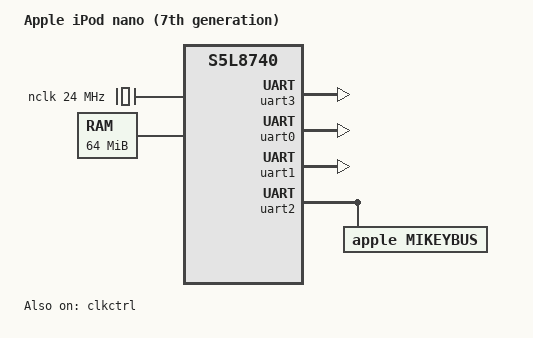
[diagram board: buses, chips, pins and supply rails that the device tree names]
// SPDX-License-Identifier: GPL-2.0+
/*
 * Apple S5L8740 SoC
 * Board name: N31
 * Product name: iPod nano (7th generation)
 */
/dts-v1/;

#include <dt-bindings/input/input.h>
#include <dt-bindings/gpio/gpio.h>
#include <dt-bindings/interrupt-controller/irq.h>
#include <dt-bindings/clock/samsung,s5l8702-clock.h>

/ {
    #address-cells = <1>;
    #size-cells = <1>;
    model = "Apple iPod nano (7th generation)";
    compatible = "apple,n31", "samsung,s5l8740";

    aliases {
        serial0 = &uart3;
        console = &uart3;
    };

    chosen {
        /* quiet: suppress non-critical boot spam; nimbus uses explicit prints */
		bootargs = "panic=-1 loglevel=8 nohlt";
        stdout-path = "serial0";
    };

    nclk: external_clock {
        compatible = "fixed-clock";
        #clock-cells = <0>;
        clock-frequency = <24000000>;
        clock-output-names = "nclk";
    };

    // pclk: clock-ref {
    //     compatible = "fixed-clock";
    //     #clock-cells = <0>;
    //     clock-frequency = <6000000>;
    //     clock-output-names = "pclk";
    // };

    cpus {
        #address-cells = <1>;
        #size-cells = <0>;

        cpu@0 {
            device_type = "cpu";
            reg = <0>;
            compatible = "arm,cortex-a5";
        };
    };

    memory@8000000 {
        device_type = "memory";
        reg = <0x08000000 0x04000000>;
    };

    soc {
        compatible = "simple-bus";
        #address-cells = <1>;
        #size-cells = <1>;
        ranges;

        vic0: interrupt-controller@38e00000 {
            compatible = "arm,pl192-vic";
            interrupt-controller;
            reg = <0x38e00000 0x1000>;
            #interrupt-cells = <1>;
        };

        vic1: interrupt-controller@38e01000 {
            compatible = "arm,pl192-vic";
            interrupt-controller;
            reg = <0x38e01000 0x1000>;
            #interrupt-cells = <1>;
        };

        clkctrl: clock-controller@3c500000 {
            compatible = "samsung,s5l8740-clock", "samsung,s5l8702-clock";
            reg = <0x3c500000 0x100>;
            #clock-cells = <1>;
            /* boot-minimal: WTF already ungated clocks — skip SEC mass reprogram */
            apple,skip-clkcon-ensure;
            apple,skip-clkcon-bringup;
            status = "okay";
        };
        eic: interrupt-controller@39700000 {
            compatible = "apple,s5l8740-eic", "samsung,s5l8740-eic";
            reg = <0x39700000 0x1000>;
            interrupt-controller;
            #interrupt-cells = <2>;
            /*
             * Chain ONLY VIC EXT1 (group1 / GPIOs 32-63): Vol 40/41, Nimbus 38.
             * Chaining all EXT0-6 hung boot previously.
             */
            interrupt-parent = <&vic0>;
            interrupts = <1>; /* EXT1 */
            /* boot-minimal v2: no EIC chain (IRQ storm risk without Nimbus) */
            status = "disabled";
        };

        timer: timer@3c700000 {
            compatible = "samsung,s5l8720-timer";
            reg = <0x3c700000 0x20000>;
            interrupt-parent = <&vic0>;
            interrupts = <7>;
        };

        /* Probe lcdif early — before SPI/Nimbus (boot-minimal bisect) */
        lcdif: lcdif@38300000 {
            compatible = "samsung,s5l8740-lcdif";
            reg = <0x38300000 0x10000>;
            status = "disabled";
        };

        backlight: backlight@3e000000 {
            compatible = "apple,s5l8740-backlight", "samsung,s5l8740-backlight";
            reg = <0x3e000000 0x100>;
            default-brightness = <62>;
            status = "disabled";
        };

        /* if this one is not first, pointers get overwritten
           in the driver and it fails to initialize */
        uart3: serial@3dd00000 {
            compatible = "apple,s5l-uart";
            reg = <0x3dd00000 0x3c>;
            clocks = <&nclk>, <&nclk>;
            clock-names = "uart", "clk_uart_baud0";
            reg-io-width = <4>;
            interrupt-parent = <&vic0>;
            interrupts = <27>;
            status = "okay";
        };

        uart0: serial@3cc00000 {
            compatible = "apple,s5l-uart";
            reg = <0x3cc00000 0x3c>;
            clocks = <&nclk>, <&nclk>;
            clock-names = "uart", "clk_uart_baud0";
            reg-io-width = <4>;
            interrupt-parent = <&vic0>;
            interrupts = <24>;
            status = "okay";
        };

        uart1: serial@3db00000 {
            compatible = "apple,s5l-uart";
            reg = <0x3db00000 0x3c>;
            clocks = <&nclk>, <&nclk>;
            clock-names = "uart", "clk_uart_baud0";
            reg-io-width = <4>;
            interrupt-parent = <&vic0>;
            interrupts = <25>;
            status = "okay";

            /* BCM2078KUBG on UART1 @115200 — Vincent CodePatches → BCM2076B1.hcd */
            bluetooth {
                compatible = "brcm,bcm2078", "brcm,bcm4329-bt";
                max-speed = <115200>;
                shutdown-gpios = <&gpio 97 GPIO_ACTIVE_LOW>;
                device-wakeup-gpios = <&gpio 98 GPIO_ACTIVE_HIGH>;
                host-wakeup-gpios = <&gpio 119 GPIO_ACTIVE_HIGH>;
                firmware-name = "brcm/BCM2076B1.hcd";
                /* Boot-safe: defer BCM until init up — see bcm2078-bt.c */
                status = "disabled";
            };
        };

        uart2: serial@3dc00000 {
            compatible = "apple,s5l-uart";
            reg = <0x3dc00000 0x3c>;
            clocks = <&nclk>, <&nclk>;
            clock-names = "uart", "clk_uart_baud0";
            reg-io-width = <4>;
            interrupt-parent = <&vic0>;
            interrupts = <26>;
            status = "okay";

            mikeybus {
                compatible = "apple,mikeybus", "apple,n31-mikeybus";
                current-speed = <115200>;
            };
        };

        usbphy: usbphy@3c400000 {
            /* N31 uses s5l87xx PHY sequence (NOT Nano3 8702 ramp) */
            compatible = "apple,s5l8740-otgphy", "apple,s5l87xx-otgphy";
            reg = <0x3c400000 0x100>;
            status = "disabled";
            #phy-cells = <0>;
        };

        usbotg_hs: usb@38400000 {
            compatible = "apple,s5l8740-usb", "apple,s5l87xx-usb";
            reg = <0x38400000 0x40000>;
            interrupt-parent = <&vic0>;
            interrupts = <19>;
            phys = <&usbphy>;
            phy-names = "usb2-phy";
            clocks = <&clkctrl CLK_USBOTG>, <&clkctrl CLK_USBPHY>, <&nclk>;
            clock-names = "otg", "phy", "ref";
            /* rx=256 + np-tx=256 leaves room for periodic TX FIFOs (536+256 overflowed) */
            g-rx-fifo-size = <256>;
            g-np-tx-fifo-size = <256>;
            status = "disabled";
            dr_mode = "peripheral";
        };


        spi2: spi@3d200000 {
            /* N31 Nimbus on SPI2 — CLK_SPI2 (+ alt/secondary) + pinmux in driver */
            compatible = "apple,s5l8702-spi", "samsung,s5l8740-spi", "samsung,s5l8702-spi";
            reg = <0x3d200000 0x100>;
            clocks = <&clkctrl CLK_SPI2>, <&clkctrl CLK_SPI2_2>, <&clkctrl CLK_SPI2_ALT>;
            clock-names = "spi", "spi-2", "spi-alt";
            /* SPI DMA peri IDs OPEN in N31 RE — Nimbus uses proven PIO path */
            #address-cells = <1>;
            #size-cells = <0>;
            status = "disabled";
            nimbus: touchscreen@0 {
                compatible = "apple,nimbus";
                reg = <0>;
                spi-max-frequency = <1000000>;
                enable-gpios = <&gpio 14 GPIO_ACTIVE_HIGH>;
                reset-gpios = <&gpio 39 GPIO_ACTIVE_LOW>;
                attn-gpios = <&gpio 38 GPIO_ACTIVE_LOW>;
                /* GPIO38 → EIC group1 → VIC EXT1 */
                interrupts-extended = <&eic 38 IRQ_TYPE_LEVEL_LOW>;
                status = "disabled";
            };
        };

        /*
         * SPI0 @0x3C300000: panel in IpodSec, CS42 in RetailOS.
         * Keep disabled so LCD SPI ownership is undisturbed; enable only
         * after panel/CS42 mux is sequenced.
         */
        /* SPI0: CS42 control. Panel pixels are LCDIF@383 — not this bus. */
        spi0: spi@3c300000 {
            compatible = "apple,s5l8702-spi", "samsung,s5l8740-spi", "samsung,s5l8702-spi";
            reg = <0x3c300000 0x100>;
            clocks = <&clkctrl CLK_SPI0>, <&clkctrl CLK_SPI0_2>;
            clock-names = "spi", "spi-2";
            #address-cells = <1>;
            #size-cells = <0>;
            status = "disabled";
            cs42l81: codec@0 {
                compatible = "cirrus,cs42l81", "apple,338s1146";
                reg = <0>;
                spi-max-frequency = <1000000>;
                status = "okay";
            };
        };

        i2s0: i2s@3ca00000 {
            compatible = "apple,s5l8740-i2s", "samsung,s5l8740-i2s";
            reg = <0x3ca00000 0x1000>;
            clocks = <&clkctrl CLK_I2S0>, <&clkctrl CLK_CG16_9>;
            clock-names = "i2s", "cg16";
            dmas = <&dmac 12 0>, <&dmac 13 0>;
            dma-names = "tx", "rx";
            #sound-dai-cells = <0>;
            status = "disabled";
        };

        i2s2: i2s@3d400000 {
            compatible = "apple,s5l8740-iis2";
            reg = <0x3d400000 0x1000>;
            clocks = <&clkctrl CLK_I2S2>, <&clkctrl CLK_CG16_11>;
            clock-names = "i2s", "cg16";
            dmas = <&dmac 16 0>, <&dmac 17 0>;
            dma-names = "tx", "rx";
            status = "disabled";
        };

        nano7_audio: audio {
            compatible = "apple,n31-audio";
            apple,cpu = <&i2s0>;
            status = "disabled";
        };

        wdt: watchdog@3c800000 {
            compatible = "apple,s5l8740-syscon", "syscon", "simple-mfd";
            reg = <0x3c800000 0x8>;

            reboot: syscon-reboot@3c800000 {
                compatible = "syscon-reboot";
                offset = <0x0>;
                value = <0x100000>;
            };
        };

        /*
         * Full S5L8740 banked GPIO (was: 2-line bcm6345 hack at 0x3cf000a4).
         * Keep label gpio5 disabled so old phandles fail closed if any remain.
         */
        gpio5: gpio-hack@3cf000a4 {
            compatible = "brcm,bcm6345-gpio";
            reg-names = "dat";
            reg = <0x3cf000a4 0x4>;
            #gpio-cells = <2>;
            gpio-controller;
            ngpios = <2>;
            status = "disabled";
        };

        gpio: gpio@3cf00000 {
            compatible = "apple,s5l8740-gpio", "samsung,s5l8740-gpio";
            reg = <0x3cf00000 0x400>;
            clocks = <&clkctrl CLK_GPIO>;
            clock-names = "gpio";
            apple,eic = <&eic>;
            /* boot-minimal: skip SEC sub_223C mass pinmux (WTF handoff) */
            apple,skip-sec-pinmux;
            #gpio-cells = <2>;
            gpio-controller;
            ngpios = <128>; /* BT host-wake GPIO 119 */
            status = "disabled";
        };

        i2c0: i2c@3c600000 {
            compatible = "samsung,s5l8702-i2c";
            samsung,write-busy-poll;
            #address-cells = <1>;
            #size-cells = <0>;
            reg = <0x3c600000 0x100>;
            clocks = <&clkctrl CLK_I2C0>, <&clkctrl CLK_I2C0_2>;
            clock-names = "i2c", "i2c-2";
            clock-frequency = <100000>;
            interrupt-parent = <&vic0>;
            interrupts = <21>;
            status = "disabled";

            /*
             * Tristar CBTL1609A1 — public "0x34 write / 0x35 read" is 8-bit;
             * Linux DT 7-bit address is 0x1a.
             * RetailOS RE: zero Dx/mux register writes observed — dump stays
             * flat until accessory; only apple,init-sequence may write.
             */
            tristar: lightning-mux@1a {
                compatible = "apple,tristar-cbtl1609", "nxp,cbtl1609a1",
                             "apple,n31-tristar";
                reg = <0x1a>;
                /* Parent i2c0 is disabled in this DTB; child cannot probe. */
                status = "okay";
            };
        };

        i2c1: i2c@3c900000 {
            compatible = "samsung,s5l8702-i2c";
            samsung,write-busy-poll;
            #address-cells = <1>;
            #size-cells = <0>;
            reg = <0x3c900000 0x100>;
            clocks = <&clkctrl CLK_I2C1>, <&clkctrl CLK_I2C1_2>;
            clock-names = "i2c", "i2c-2";
            clock-frequency = <100000>; /* UPDATE ME */
            interrupt-parent = <&vic0>;
            interrupts = <22>;
            status = "disabled";

            /* ST lis3lv02d binding; mount-matrix optional (skip until board orient known) */
            lis3dc: lis331dlh@18 {
                compatible = "st,lis3lv02d";
                reg = <0x18>;
                /* Identity until board orientation proven on HW */
                mount-matrix = "1", "0", "0",
                               "0", "1", "0",
                               "0", "0", "1";
                status = "okay";
            };

            /* Duplicate of i2c0 tristar@1a — keep disabled; primary is i2c0 only */
            tristar_i2c1: lightning-mux@1a {
                compatible = "apple,tristar-cbtl1609", "nxp,cbtl1609a1";
                reg = <0x1a>;
                status = "disabled";
            };
            /* Also try literal 7-bit 0x34 in case public notes meant that */
            /* 0x34 is 8-bit write addr form — NOT a Linux 7-bit address */
            tristar_i2c1_34: lightning-mux@34 {
                compatible = "apple,tristar-cbtl1609", "nxp,cbtl1609a1";
                reg = <0x34>;
                status = "disabled";
            };

            d1830: pmic@73 {
                compatible = "dlg,d1830-gpio";
                reg = <0x73>;
                gpio-controller;
                #gpio-cells = <2>;
                /* N31: no Home/Play. Sleep/Wake is PMIC — map TBD. */
                dlg,gpio-map = <0x07 5>; /* SEC sub_27F4: Sleep/Wake status bit5 */
            };
        };

        sha1: sha1@38000000 {
            compatible = "samsung,s5l8702-sha1";
            reg = <0x38000000 0x100>;
            clocks = <&clkctrl CLK_SHA1>;
            clock-names = "sha1";
            status = "disabled";
        };

        /*
         * PL080 DMAC0/1 — OSOS pairs 0x38200000 + 0x38700000.
         * NOT 0x384 (DWC OTG). Peri IDs: N31 RE IIS0 12/13, IIS2 16/17.
         */
        dmac: dma-controller@38200000 {
            compatible = "apple,s5l8740-pl080", "arm,pl080";
            reg = <0x38200000 0x1000>, <0x38700000 0x1000>;
            clocks = <&clkctrl CLK_DMAC0>, <&clkctrl CLK_DMAC1>;
            clock-names = "dmac0", "dmac1";
            interrupt-parent = <&vic0>;
            interrupts = <16>, <17>;
            #dma-cells = <2>;
            status = "disabled";
        };

        aes: aes@38c00000 {
            compatible = "samsung,s5l8702-aes";
            reg = <0x38c00000 0x100>;
            clocks = <&clkctrl CLK_AES>;
            clock-names = "aes";
            status = "disabled";
        };

        prng: prng@3c100000 {
            compatible = "samsung,s5l8702-prng";
            reg = <0x3c100000 0x100>;
            clocks = <&clkctrl CLK_PRNG>;
            clock-names = "prng";
            status = "disabled";
        };
    };
    gpio-keys {
        compatible = "gpio-keys";
        status = "disabled";

        button-power {
            label = "Sleep/Wake";
            gpios = <&d1830 0 GPIO_ACTIVE_LOW>;
            linux,code = <KEY_POWER>;
            debounce-interval = <50>;
            wakeup-source;
            status = "okay";
        };

        /* Active-low CONFIRMED; Vol+ = GPIO40 provisional (swap with 41 if inverted) */
        button-volup {
            label = "Volume Up";
            gpios = <&gpio 40 GPIO_ACTIVE_LOW>;
            linux,code = <KEY_VOLUMEUP>;
            debounce-interval = <30>;
            status = "okay";
        };

        button-voldown {
            label = "Volume Down";
            gpios = <&gpio 41 GPIO_ACTIVE_LOW>;
            linux,code = <KEY_VOLUMEDOWN>;
            debounce-interval = <30>;
            status = "okay";
        };
    };
};
